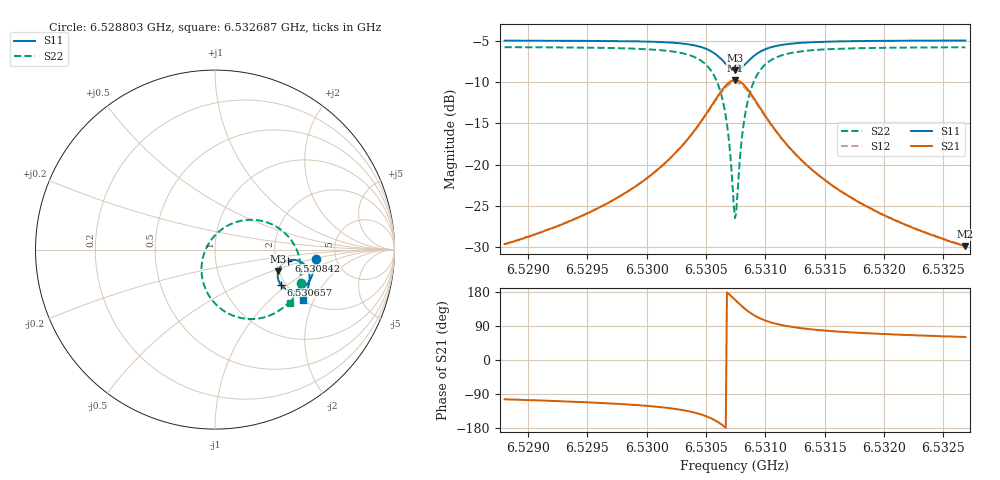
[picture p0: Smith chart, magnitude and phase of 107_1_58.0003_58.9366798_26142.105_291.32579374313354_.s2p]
#  HZ  S  RI  R  50.00
! Rohde & Schwarz Vector Network Analyzer
! Rohde-Schwarz,ZNB20-2Port,1311601062101988,3.16
! Created: UTC 3/21/2024, 12:55:03 AM
! freq[Hz]  re:S11  im:S11  re:S21  im:S21  re:S12  im:S12  re:S22  im:S22
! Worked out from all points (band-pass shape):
!   401 points, 6.528803 GHz to 6.532687 GHz, reference 50 ohm
!   highest |S21| = -9.75 dB at 6.530745 GHz (marker M1); lowest = -29.9 dB at 6.532687 GHz (marker M2)
!   |S21| within 3 dB of the highest: 6.530552 GHz to 6.53094 GHz (388 kHz wide, 0.00594 % of centre)
!   lowest |S11| = -8.6 dB at 6.530745 GHz (marker M3), VSWR 2.19, Z = 99.2 - j27.7 ohm
!   |S11| at or under -10 dB: nowhere
!   |S22| runs from -26.5 to -5.8 dB; largest |S21 - S12| = 0.013
!   S11 on the Smith chart (normalised r, x): 6.528803 GHz: 3.48, -0.56; 6.530657 GHz: 1.88, -0.89; 6.530842 GHz: 2.35, -0.35; 6.532687 GHz: 2.00, -1.66
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6.5288031e9  0.5608 -0.0546  -0.00779 -0.0321  -0.00845 -0.0319  0.4805 -0.1839
6.5294536e9  0.5513 -0.1101  -0.0177 -0.0457  -0.0187 -0.0454  0.4483 -0.246
6.5298322e9  0.5398 -0.1467  -0.0312 -0.0606  -0.0327 -0.06  0.4126 -0.2928
6.5301041e9  0.5239 -0.1779  -0.0528 -0.0785  -0.0552 -0.077  0.363 -0.336
6.5303274e9  0.4966 -0.2084  -0.0947 -0.0996  -0.0978 -0.0963  0.2784 -0.3762
6.5304924e9  0.4513 -0.2286  -0.1667 -0.1072  -0.1692 -0.1  0.1457 -0.3813
6.5305895e9  0.4039 -0.2233  -0.2405 -0.08  -0.2397 -0.0695  0.0224 -0.3213
6.5306575e9  0.3665 -0.1946  -0.2952 -0.0187  -0.289 -0.00774  -0.0577 -0.2072
6.5306866e9  0.3547 -0.1734  -0.3101 0.0219  -0.301 0.0316  -0.0741 -0.1369
6.5307254e9  0.3493 -0.1388  -0.312 0.085  -0.3003 0.0911  -0.0644 -0.0331
6.5307449e9  0.3521 -0.1205  -0.3037 0.1168  -0.2913 0.1208  -0.0442 0.0173
6.5307546e9  0.3549 -0.1119  -0.2969 0.1321  -0.2847 0.1349  -0.0304 0.0409
6.5307643e9  0.3587 -0.1035  -0.2888 0.1464  -0.2767 0.1482  -0.0146 0.0627
6.5308031e9  0.381 -0.0761  -0.2456 0.193  -0.2351 0.1911  0.0651 0.1304
6.5308419e9  0.4092 -0.0609  -0.1939 0.2182  -0.1864 0.2145  0.1544 0.1623
6.5309099e9  0.4551 -0.0592  -0.1141 0.2212  -0.1104 0.2177  0.2887 0.152
6.531007e9  0.4956 -0.0809  -0.045 0.189  -0.0432 0.1871  0.4003 0.0815
6.5311526e9  0.52 -0.1175  -0.00291 0.1401  -0.00165 0.1393  0.4619 -0.0182
6.5313954e9  0.5271 -0.1617  0.0151 0.0918  0.0163 0.0914  0.4784 -0.1196
6.531706e9  0.5221 -0.2  0.0185 0.0615  0.0195 0.0612  0.4682 -0.1903
6.5320459e9  0.512 -0.2323  0.018 0.0442  0.0188 0.044  0.4514 -0.2385
6.5326866e9  0.4892 -0.2826  0.0158 0.028  0.0163 0.0277  0.4182 -0.2989
